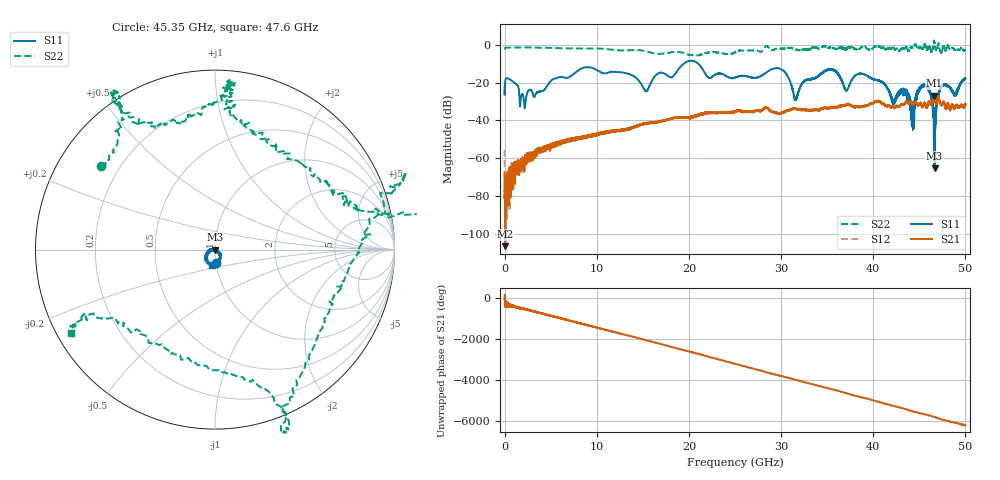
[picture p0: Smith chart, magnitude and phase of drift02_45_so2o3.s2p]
!Created with skrf (http://scikit-rf.org).
# Hz S RI R 50.0
!freq ReS11 ImS11 ReS21 ImS21 ReS12 ImS12 ReS22 ImS22
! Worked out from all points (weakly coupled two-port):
!   10001 points, 300 kHz to 50 GHz, reference 50 ohm
!   highest |S21| = -26.92 dB at 46.58 GHz (marker M1); lowest = -106.6 dB at 85.3 MHz (marker M2)
!   lowest |S11| = -65.4 dB at 46.65 GHz (marker M3), VSWR 1.00, Z = 50 + j0.0517 ohm
!   |S11| at or under -10 dB: start of sweep to 19.42 GHz; 21 GHz to end of sweep
!   |S22| runs from -5.7 to 2.3 dB; largest |S21 - S12| = 0.0033
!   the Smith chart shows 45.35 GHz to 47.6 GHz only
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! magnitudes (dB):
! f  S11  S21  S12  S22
! 300 kHz  -22.5  -67.8  -55.5  -2.0
! 85.3 MHz  -18.6  -106.6  -85.2  -1.5
! 2.19 GHz  -33.6  -60.0  -60.2  -1.3
! 8.335 GHz  -12.5  -49.4  -49.2  -1.9
! 15.34 GHz  -24.5  -41.4  -41.5  -3.3
! 16.67 GHz  -15.1  -41.0  -40.8  -4.7
! 20.3 GHz  -8.4  -38.6  -37.9  -5.5
! 25 GHz  -17.4  -35.3  -35.2  -3.9
! 29.84 GHz  -12.6  -36.2  -36.3  -2.0
! 31.59 GHz  -29.0  -33.7  -33.9  -2.4
! 33.34 GHz  -17.9  -34.4  -34.6  -1.6
! 35.6 GHz  -13.1  -33.3  -33.2  -1.6
! 37.1 GHz  -24.2  -31.8  -31.7  -2.2
! 38.75 GHz  -15.2  -32.8  -32.5  -1.0
! 41.67 GHz  -24.2  -32.1  -32.3  -1.9
! 43.53 GHz  -24.9  -30.3  -30.5  -1.4
! 44.26 GHz  -43.5  -31.2  -31.1  -1.5
! 45.7 GHz  -22.0  -32.4  -32.3  -0.8
! 46.58 GHz  -49.6  -26.9  -27.0  1.6
! 46.65 GHz  -65.4  -27.7  -28.0  0.7
! 47.46 GHz  -21.9  -31.5  -31.8  -3.7
! 50 GHz  -17.9  -31.2  -31.5  -2.7
